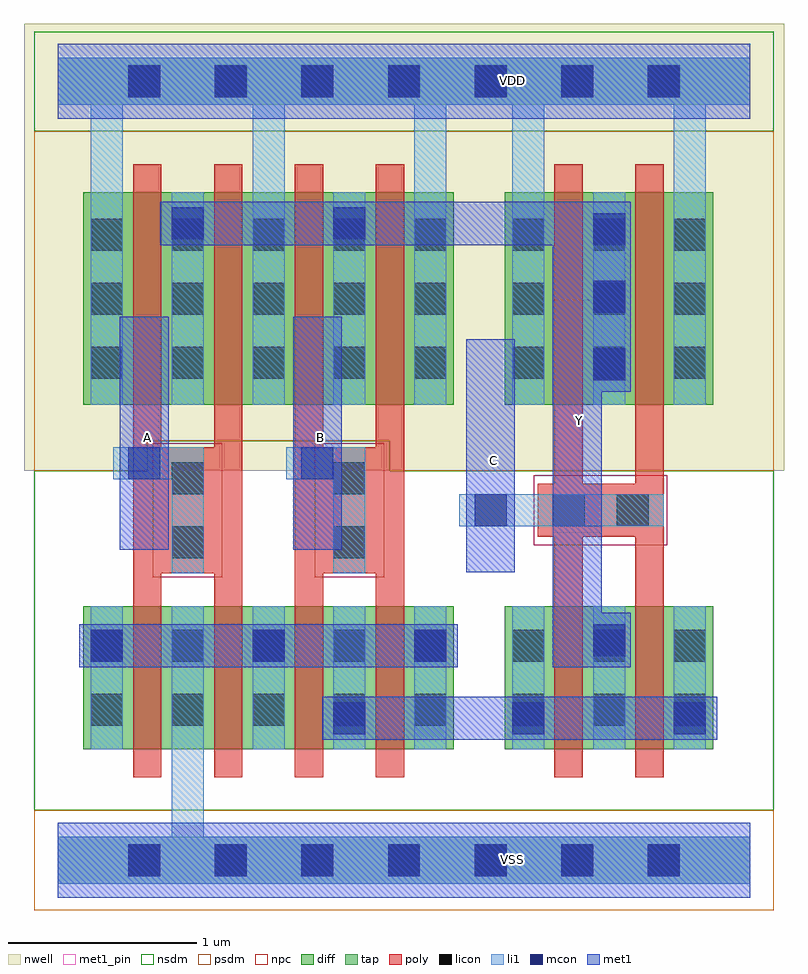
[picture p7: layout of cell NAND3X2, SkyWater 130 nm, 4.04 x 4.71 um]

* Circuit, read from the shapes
.subckt NAND3X2 A B C VDD VSS Y
XM1 VSS A n1 VSS sky130_fd_pr__nfet_01v8 w=0.76 l=0.15 m=2
XM2 n2 B n1 VSS sky130_fd_pr__nfet_01v8 w=0.76 l=0.15 m=2
XM3 Y C n2 VSS sky130_fd_pr__nfet_01v8 w=0.76 l=0.15 m=2
XM4 Y A VDD VDD sky130_fd_pr__pfet_01v8 w=1.13 l=0.15 m=2
XM5 Y B VDD VDD sky130_fd_pr__pfet_01v8 w=1.13 l=0.15 m=2
XM6 Y C VDD VDD sky130_fd_pr__pfet_01v8 w=1.13 l=0.15 m=2
.ends

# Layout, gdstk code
from math import pi, radians
import gdstk
lib = gdstk.Library(unit=1e-6, precision=1e-09)
def R(c, l, rs):  # rectangles x0, y0, x1, y1
    for r in rs: c.add(gdstk.rectangle(r[:2], r[2:], *l))
def A(c, l, x, y, w, h, nx, ny, dx, dy):  # array of equal rectangles
    R(c, l, [(x+i*dx, y+j*dy, x+i*dx+w, y+j*dy+h) for i in range(nx) for j in range(ny)])
def P(c, l, *ps):  # polygons
    for p in ps: c.add(gdstk.Polygon(p, *l))
nwell = (64, 20)
diff = (65, 20)
tap = (65, 44)
poly = (66, 20)
licon = (66, 44)
li1 = (67, 20)
mcon = (67, 44)
met1_pin = (68, 16)
met1 = (68, 20)
nsdm = (93, 44)
psdm = (94, 20)
npc = (95, 20)

nfet_01v8_cdns_716492285 = lib.new_cell('nfet_01v8_CDNS_71649228522139')
R(nfet_01v8_cdns_716492285, diff, [(-0.265,0,0,0.76), (0,0,0.15,0.76), (0.15,0,0.43,0.76), (0.43,0,0.58,0.76), (0.58,0,0.845,0.76)])
R(nfet_01v8_cdns_716492285, poly, [(0,-0.15,0.15,-0.095), (0.43,-0.15,0.58,-0.095), (0,-0.095,0.15,0), (0.43,-0.095,0.58,0), (0,0,0.15,0.76), (0.43,0,0.58,0.76), (0,0.76,0.15,0.855), (0.43,0.76,0.58,0.855), (0,0.855,0.15,0.91), (0.43,0.855,0.58,0.91)])
A(nfet_01v8_cdns_716492285, licon, -0.225, 0.125, 0.17, 0.17, 3, 2, 0.43, 0.34)
A(nfet_01v8_cdns_716492285, li1, -0.225, 0, 0.17, 0.76, 3, 1, 0.43, 0)
R(nfet_01v8_cdns_716492285, nsdm, [(-0.405,-0.13,0.985,0.89)])

pfet_01v8_cdns_716492285 = lib.new_cell('pfet_01v8_CDNS_71649228522167')
R(pfet_01v8_cdns_716492285, nwell, [(-0.445,-0.18,1.025,1.31)])
R(pfet_01v8_cdns_716492285, diff, [(-0.265,0,0,1.13), (0,0,0.15,1.13), (0.15,0,0.43,1.13), (0.43,0,0.58,1.13), (0.58,0,0.845,1.13)])
R(pfet_01v8_cdns_716492285, poly, [(0,-0.15,0.15,-0.095), (0.43,-0.15,0.58,-0.095), (0,-0.095,0.15,0), (0.43,-0.095,0.58,0), (0,0,0.15,1.13), (0.43,0,0.58,1.13), (0,1.13,0.15,1.225), (0.43,1.13,0.58,1.225), (0,1.225,0.15,1.28), (0.43,1.225,0.58,1.28)])
A(pfet_01v8_cdns_716492285, licon, -0.225, 0.14, 0.17, 0.17, 3, 3, 0.43, 0.34)
A(pfet_01v8_cdns_716492285, li1, -0.225, 0, 0.17, 1.13, 3, 1, 0.43, 0)
R(pfet_01v8_cdns_716492285, psdm, [(-0.405,-0.13,0.985,1.26)])

c_pfet_01v8_cdns_716492285 = lib.new_cell('pfet_01v8_CDNS_7164922852267')
R(c_pfet_01v8_cdns_716492285, nwell, [(-0.445,-0.18,0.985,1.31)])
R(c_pfet_01v8_cdns_716492285, diff, [(-0.265,0,0,1.13), (0,0,0.15,1.13), (0.15,0,0.43,1.13), (0.43,0,0.58,1.13), (0.58,0,0.805,1.13)])
R(c_pfet_01v8_cdns_716492285, poly, [(0,-0.15,0.15,-0.095), (0.43,-0.15,0.58,-0.095), (0,-0.095,0.15,0), (0.43,-0.095,0.58,0), (0,0,0.15,1.13), (0.43,0,0.58,1.13), (0,1.13,0.15,1.225), (0.43,1.13,0.58,1.225), (0,1.225,0.15,1.28), (0.43,1.225,0.58,1.28)])
A(c_pfet_01v8_cdns_716492285, licon, -0.225, 0.14, 0.17, 0.17, 3, 3, 0.43, 0.34)
A(c_pfet_01v8_cdns_716492285, li1, -0.225, 0, 0.17, 1.13, 3, 1, 0.43, 0)
R(c_pfet_01v8_cdns_716492285, psdm, [(-0.405,-0.13,0.815,1.26)])

c_pfet_01v8_cdns_716492285_ = lib.new_cell('pfet_01v8_CDNS_71649228522122')
R(c_pfet_01v8_cdns_716492285_, nwell, [(-0.235,-0.18,1.025,1.31)])
R(c_pfet_01v8_cdns_716492285_, diff, [(-0.055,0,0,1.13), (0,0,0.15,1.13), (0.15,0,0.43,1.13), (0.43,0,0.58,1.13), (0.58,0,0.845,1.13)])
R(c_pfet_01v8_cdns_716492285_, poly, [(0,-0.15,0.15,-0.095), (0.43,-0.15,0.58,-0.095), (0,-0.095,0.15,0), (0.43,-0.095,0.58,0), (0,0,0.15,1.13), (0.43,0,0.58,1.13), (0,1.13,0.15,1.225), (0.43,1.13,0.58,1.225), (0,1.225,0.15,1.28), (0.43,1.225,0.58,1.28)])
A(c_pfet_01v8_cdns_716492285_, licon, 0.205, 0.14, 0.17, 0.17, 1, 3, 0, 0.34)
A(c_pfet_01v8_cdns_716492285_, licon, 0.635, 0.14, 0.17, 0.17, 1, 3, 0, 0.34)
R(c_pfet_01v8_cdns_716492285_, li1, [(0.205,0,0.375,1.13), (0.635,0,0.805,1.13)])
R(c_pfet_01v8_cdns_716492285_, psdm, [(-0.065,-0.13,0.985,1.26)])

c_nfet_01v8_cdns_716492285 = lib.new_cell('nfet_01v8_CDNS_71649228522124')
R(c_nfet_01v8_cdns_716492285, diff, [(-0.265,0,0,0.76), (0,0,0.15,0.76), (0.15,0,0.43,0.76), (0.43,0,0.58,0.76), (0.58,0,0.805,0.76)])
R(c_nfet_01v8_cdns_716492285, poly, [(0,-0.15,0.15,-0.095), (0.43,-0.15,0.58,-0.095), (0,-0.095,0.15,0), (0.43,-0.095,0.58,0), (0,0,0.15,0.76), (0.43,0,0.58,0.76), (0,0.76,0.15,0.855), (0.43,0.76,0.58,0.855), (0,0.855,0.15,0.91), (0.43,0.855,0.58,0.91)])
A(c_nfet_01v8_cdns_716492285, licon, -0.225, 0.125, 0.17, 0.17, 3, 2, 0.43, 0.34)
A(c_nfet_01v8_cdns_716492285, li1, -0.225, 0, 0.17, 0.76, 3, 1, 0.43, 0)
R(c_nfet_01v8_cdns_716492285, nsdm, [(-0.405,-0.13,0.815,0.89)])

c_nfet_01v8_cdns_716492285_ = lib.new_cell('nfet_01v8_CDNS_71649228522125')
R(c_nfet_01v8_cdns_716492285_, diff, [(-0.055,0,0,0.76), (0,0,0.15,0.76), (0.15,0,0.43,0.76), (0.43,0,0.58,0.76), (0.58,0,0.845,0.76)])
R(c_nfet_01v8_cdns_716492285_, poly, [(0,-0.15,0.15,-0.095), (0.43,-0.15,0.58,-0.095), (0,-0.095,0.15,0), (0.43,-0.095,0.58,0), (0,0,0.15,0.76), (0.43,0,0.58,0.76), (0,0.76,0.15,0.855), (0.43,0.76,0.58,0.855), (0,0.855,0.15,0.91), (0.43,0.855,0.58,0.91)])
R(c_nfet_01v8_cdns_716492285_, licon, [(0.205,0.125,0.375,0.295), (0.635,0.125,0.805,0.295), (0.205,0.465,0.375,0.635), (0.635,0.465,0.805,0.635)])
R(c_nfet_01v8_cdns_716492285_, li1, [(0.205,0,0.375,0.76), (0.635,0,0.805,0.76)])
R(c_nfet_01v8_cdns_716492285_, nsdm, [(-0.065,-0.13,0.985,0.89)])

l1m1_c_cdns_716492285223 = lib.new_cell('L1M1_C_CDNS_716492285223')
R(l1m1_c_cdns_716492285223, li1, [(-0.165,-0.085,0.165,0.085)])
R(l1m1_c_cdns_716492285223, mcon, [(-0.085,-0.085,0.085,0.085)])
R(l1m1_c_cdns_716492285223, met1, [(-0.115,-0.145,0.115,0.145)])

pyl1con_c_cdns_716492285 = lib.new_cell('PYL1CON_C_CDNS_716492285220')
R(pyl1con_c_cdns_716492285, poly, [(-0.135,-0.165,0.135,0.165)])
R(pyl1con_c_cdns_716492285, licon, [(-0.085,-0.085,0.085,0.085)])
R(pyl1con_c_cdns_716492285, npc, [(-0.185,-0.185,0.185,0.185)])

l1m1_c_cdns_716492285227 = lib.new_cell('L1M1_C_CDNS_716492285227')
R(l1m1_c_cdns_716492285227, li1, [(-0.165,-0.085,0.165,0.085)])
R(l1m1_c_cdns_716492285227, mcon, [(-0.085,-0.085,0.085,0.085)])
R(l1m1_c_cdns_716492285227, met1, [(-0.145,-0.115,0.145,0.115)])

l1m1_c_cdns_716492285222 = lib.new_cell('L1M1_C_CDNS_7164922852227')
R(l1m1_c_cdns_716492285222, li1, [(-0.525,-0.085,0.525,0.085)])
A(l1m1_c_cdns_716492285222, mcon, -0.445, -0.085, 0.17, 0.17, 3, 1, 0.36, 0)
R(l1m1_c_cdns_716492285222, met1, [(-0.505,-0.115,0.505,0.115)])

nand3x2 = lib.new_cell('NAND3X2')
R(nand3x2, nwell, [(-0.18,2.07,3.86,4.305), (-0.18,3.875,3.86,4.445)])
R(nand3x2, poly, [(0.55,1.525,0.83,2.045), (0.555,1.525,0.825,2.195), (1.41,1.525,1.69,2.045), (1.415,1.525,1.685,2.195), (0.55,1.695,0.83,2.025), (1.41,1.695,1.69,2.025), (2.55,1.72,2.7,2), (2.7,1.72,3.22,2), (2.55,1.725,3.22,1.995), (0.55,2.045,0.83,2.195), (1.41,2.045,1.69,2.195)])
A(nand3x2, licon, 0.375, -0.085, 0.17, 0.17, 7, 2, 0.46, 4.14)
A(nand3x2, mcon, 0.375, -0.085, 0.17, 0.17, 7, 2, 0.46, 4.14)
R(nand3x2, met1_pin, [(2.17,1.53,2.43,2.77), (0.33,1.65,0.59,2.89), (1.25,1.65,1.51,2.89), (2.63,1.74,2.89,2.98)])
R(nand3x2, nsdm, [(-0.125,3.875,3.805,4.405), (-0.125,3.93,3.805,4.35)])
P(nand3x2, nsdm, [(3.805,2.07),(1.765,2.07),(1.765,2.23),(0.475,2.23),(0.475,2.07),(-0.125,2.07),(-0.125,0.265),(3.805,0.265)])
R(nand3x2, psdm, [(-0.125,-0.265,3.805,0.265), (-0.125,-0.21,3.805,0.21)])
P(nand3x2, psdm, [(3.805,3.875),(-0.125,3.875),(-0.125,2.07),(0.475,2.07),(0.475,2.23),(1.765,2.23),(1.765,2.07),(3.805,2.07)])
nand3x2.add(gdstk.FlexPath([(3.145,2.27),(3.145,1.5)], 0.15, ends="flush", simple_path=True, layer=66, datatype=20))  # poly
nand3x2.add(gdstk.FlexPath([(1.335,1.885),(1.765,1.885)], 0.15, ends="flush", simple_path=True, layer=66, datatype=20))  # poly
nand3x2.add(gdstk.FlexPath([(0.475,1.885),(0.905,1.885)], 0.15, ends="flush", simple_path=True, layer=66, datatype=20))  # poly
nand3x2.add(gdstk.FlexPath([(1.765,2.27),(1.765,1.5)], 0.15, ends="flush", simple_path=True, layer=66, datatype=20))  # poly
nand3x2.add(gdstk.FlexPath([(2.715,2.27),(2.715,1.5)], 0.15, ends="flush", simple_path=True, layer=66, datatype=20))  # poly
nand3x2.add(gdstk.FlexPath([(0.905,1.5),(0.905,2.27)], 0.15, ends="flush", simple_path=True, layer=66, datatype=20))  # poly
nand3x2.add(gdstk.FlexPath([(0.475,2.27),(0.475,1.5)], 0.15, ends="flush", simple_path=True, layer=66, datatype=20))  # poly
nand3x2.add(gdstk.FlexPath([(1.335,2.27),(1.335,1.5)], 0.15, ends="flush", simple_path=True, layer=66, datatype=20))  # poly
nand3x2.add(gdstk.FlexPath([(2.55,1.86),(3.22,1.86)], 0.17, ends="flush", simple_path=True, layer=67, datatype=20))  # li1
nand3x2.add(gdstk.FlexPath([(1.55,2.195),(1.55,1.525)], 0.17, ends="flush", simple_path=True, layer=67, datatype=20))  # li1
nand3x2.add(gdstk.FlexPath([(2.3,1.86),(2.64,1.86)], 0.17, ends=(0, 0.085), simple_path=True, layer=67, datatype=20))  # li1
nand3x2.add(gdstk.FlexPath([(2.64,1.86),(2.64,1.865)], 0.17, ends=(0.085, 0), simple_path=True, layer=67, datatype=20))  # li1
nand3x2.add(gdstk.FlexPath([(0.69,2.195),(0.69,1.525)], 0.17, ends="flush", simple_path=True, layer=67, datatype=20))  # li1
nand3x2.add(gdstk.FlexPath([(2.47,0),(3.42,0)], 0.25, ends=(0.085, 0.085), simple_path=True, layer=67, datatype=20))  # li1
nand3x2.add(gdstk.FlexPath([(3.42,0),(3.595,0)], 0.25, ends=(0.085, 0.085), simple_path=True, layer=67, datatype=20))  # li1
nand3x2.add(gdstk.FlexPath([(0.69,0),(2.47,0)], 0.25, ends=(0.085, 0.085), simple_path=True, layer=67, datatype=20))  # li1
nand3x2.add(gdstk.FlexPath([(2.5,3.55),(2.5,4.135)], 0.17, ends="flush", simple_path=True, layer=67, datatype=20))  # li1
nand3x2.add(gdstk.FlexPath([(3.595,4.14),(3.68,4.14)], 0.25, ends=(0.085, 0), simple_path=True, layer=67, datatype=20))  # li1
nand3x2.add(gdstk.FlexPath([(0.69,4.14),(2.47,4.14)], 0.25, ends=(0.085, 0.085), simple_path=True, layer=67, datatype=20))  # li1
nand3x2.add(gdstk.FlexPath([(3.42,4.14),(3.595,4.14)], 0.25, ends=(0.085, 0.085), simple_path=True, layer=67, datatype=20))  # li1
nand3x2.add(gdstk.FlexPath([(1.98,3.55),(1.98,4.14)], 0.17, ends=(0, 0.085), simple_path=True, layer=67, datatype=20))  # li1
nand3x2.add(gdstk.FlexPath([(0.26,4.14),(0.215,4.14)], 0.17, ends=(0.085, 0), simple_path=True, layer=67, datatype=20))  # li1
nand3x2.add(gdstk.FlexPath([(0,4.14),(0.69,4.14)], 0.25, ends=(0, 0.085), simple_path=True, layer=67, datatype=20))  # li1
nand3x2.add(gdstk.FlexPath([(2.47,4.14),(3.42,4.14)], 0.25, ends=(0.085, 0.085), simple_path=True, layer=67, datatype=20))  # li1
nand3x2.add(gdstk.FlexPath([(0.69,0.59),(0.69,0)], 0.17, ends="flush", simple_path=True, layer=67, datatype=20))  # li1
nand3x2.add(gdstk.FlexPath([(3.36,3.55),(3.36,4.135)], 0.17, ends="flush", simple_path=True, layer=67, datatype=20))  # li1
nand3x2.add(gdstk.FlexPath([(1.12,3.55),(1.12,4.14)], 0.17, ends="flush", simple_path=True, layer=67, datatype=20))  # li1
nand3x2.add(gdstk.FlexPath([(0.26,3.55),(0.26,4.14)], 0.17, ends=(0, 0.085), simple_path=True, layer=67, datatype=20))  # li1
nand3x2.add(gdstk.FlexPath([(0,0),(0.69,0)], 0.25, ends=(0, 0.085), simple_path=True, layer=67, datatype=20))  # li1
nand3x2.add(gdstk.FlexPath([(3.595,0),(3.68,0)], 0.25, ends=(0.085, 0), simple_path=True, layer=67, datatype=20))  # li1
nand3x2.add(gdstk.FlexPath([(2.3,1.53),(2.3,2.77)], 0.26, ends="flush", simple_path=True, layer=68, datatype=20))  # met1
nand3x2.add(gdstk.FlexPath([(2.76,1.025),(2.76,3.5)], 0.26, ends="flush", simple_path=True, layer=68, datatype=20))  # met1
nand3x2.add(gdstk.FlexPath([(1.38,1.65),(1.38,2.89)], 0.26, ends="flush", simple_path=True, layer=68, datatype=20))  # met1
nand3x2.add(gdstk.FlexPath([(0.46,1.65),(0.46,2.89)], 0.26, ends="flush", simple_path=True, layer=68, datatype=20))  # met1
nand3x2.add(gdstk.FlexPath([(0.72,3.385),(2.815,3.385)], 0.23, ends=(0.145, 0), simple_path=True, layer=68, datatype=20))  # met1
nand3x2.add(gdstk.FlexPath([(3.36,0.755),(2.5,0.755)], 0.23, ends="flush", simple_path=True, layer=68, datatype=20))  # met1
nand3x2.add(gdstk.FlexPath([(0.26,1.14),(1.98,1.14)], 0.23, ends="flush", simple_path=True, layer=68, datatype=20))  # met1
nand3x2.add(gdstk.FlexPath([(2.5,0.755),(1.55,0.755)], 0.23, ends="flush", simple_path=True, layer=68, datatype=20))  # met1
nand3x2.add(gdstk.FlexPath([(0,0),(3.68,0)], 0.4, ends="flush", simple_path=True, layer=68, datatype=20))  # met1
nand3x2.add(gdstk.FlexPath([(0,4.14),(3.68,4.14)], 0.4, ends="flush", simple_path=True, layer=68, datatype=20))  # met1
nand3x2.add(gdstk.FlexPath([(0,4.14),(3.68,4.14)], 0.4, ends="flush", simple_path=True, layer=68, datatype=16))  # met1_pin
nand3x2.add(gdstk.FlexPath([(0,0),(3.68,0)], 0.4, ends="flush", simple_path=True, layer=68, datatype=16))  # met1_pin
nand3x2.add(gdstk.FlexPath([(0,4.14),(3.68,4.14)], 0.25, ends="flush", simple_path=True, layer=65, datatype=44))  # tap
nand3x2.add(gdstk.FlexPath([(0,0),(3.68,0)], 0.25, ends="flush", simple_path=True, layer=65, datatype=44))  # tap
nand3x2.add(gdstk.Reference(nfet_01v8_cdns_716492285, (2.64,0.59)))
nand3x2.add(gdstk.Reference(pfet_01v8_cdns_716492285, (2.64,2.42)))
nand3x2.add(gdstk.Reference(c_pfet_01v8_cdns_716492285, (0.4,2.42)))
nand3x2.add(gdstk.Reference(c_pfet_01v8_cdns_716492285_, (1.26,2.42)))
nand3x2.add(gdstk.Reference(c_nfet_01v8_cdns_716492285, (0.4,0.59)))
nand3x2.add(gdstk.Reference(c_nfet_01v8_cdns_716492285_, (1.26,0.59)))
nand3x2.add(gdstk.Reference(l1m1_c_cdns_716492285223, (2.3,1.86), x_reflection=True))
nand3x2.add(gdstk.Reference(l1m1_c_cdns_716492285223, (0.46,2.11), x_reflection=True))
nand3x2.add(gdstk.Reference(l1m1_c_cdns_716492285223, (1.38,2.11), x_reflection=True))
nand3x2.add(gdstk.Reference(l1m1_c_cdns_716492285223, (0.69,3.385), rotation=pi/2))
nand3x2.add(gdstk.Reference(l1m1_c_cdns_716492285223, (1.55,3.385), rotation=pi/2))
nand3x2.add(gdstk.Reference(l1m1_c_cdns_716492285223, (0.26,1.14), rotation=pi/2))
nand3x2.add(gdstk.Reference(l1m1_c_cdns_716492285223, (1.12,1.14), rotation=pi/2))
nand3x2.add(gdstk.Reference(l1m1_c_cdns_716492285223, (1.98,1.14), rotation=pi/2))
nand3x2.add(gdstk.Reference(l1m1_c_cdns_716492285223, (3.36,0.755), rotation=pi/2))
nand3x2.add(gdstk.Reference(l1m1_c_cdns_716492285223, (2.5,0.755), rotation=pi/2))
nand3x2.add(gdstk.Reference(l1m1_c_cdns_716492285223, (1.55,0.755), rotation=pi/2))
nand3x2.add(gdstk.Reference(pyl1con_c_cdns_716492285, (0.69,1.69), rotation=pi, x_reflection=True))
nand3x2.add(gdstk.Reference(pyl1con_c_cdns_716492285, (0.69,2.03), rotation=pi, x_reflection=True))
nand3x2.add(gdstk.Reference(pyl1con_c_cdns_716492285, (1.55,1.69), rotation=pi, x_reflection=True))
nand3x2.add(gdstk.Reference(pyl1con_c_cdns_716492285, (1.55,2.03), rotation=pi, x_reflection=True))
nand3x2.add(gdstk.Reference(pyl1con_c_cdns_716492285, (3.055,1.86), rotation=3*pi/2, x_reflection=True))
nand3x2.add(gdstk.Reference(pyl1con_c_cdns_716492285, (2.715,1.86), rotation=3*pi/2, x_reflection=True))
nand3x2.add(gdstk.Reference(l1m1_c_cdns_716492285227, (2.93,1.17), rotation=pi/2))
nand3x2.add(gdstk.Reference(l1m1_c_cdns_716492285222, (2.93,2.995), rotation=pi/2))
nand3x2.add(gdstk.Label('C', (2.315,2.125), layer=68, texttype=5))
nand3x2.add(gdstk.Label('B', (1.395,2.245), layer=68, texttype=5))
nand3x2.add(gdstk.Label('A', (0.475,2.245), layer=68, texttype=5))
nand3x2.add(gdstk.Label('Y', (2.775,2.335), layer=68, texttype=5))
nand3x2.add(gdstk.Label('VDD', (2.415,4.145), layer=68, texttype=5))
nand3x2.add(gdstk.Label('VSS', (2.415,0.005), layer=68, texttype=5))

lib.write_gds('NAND3X2.gds')
